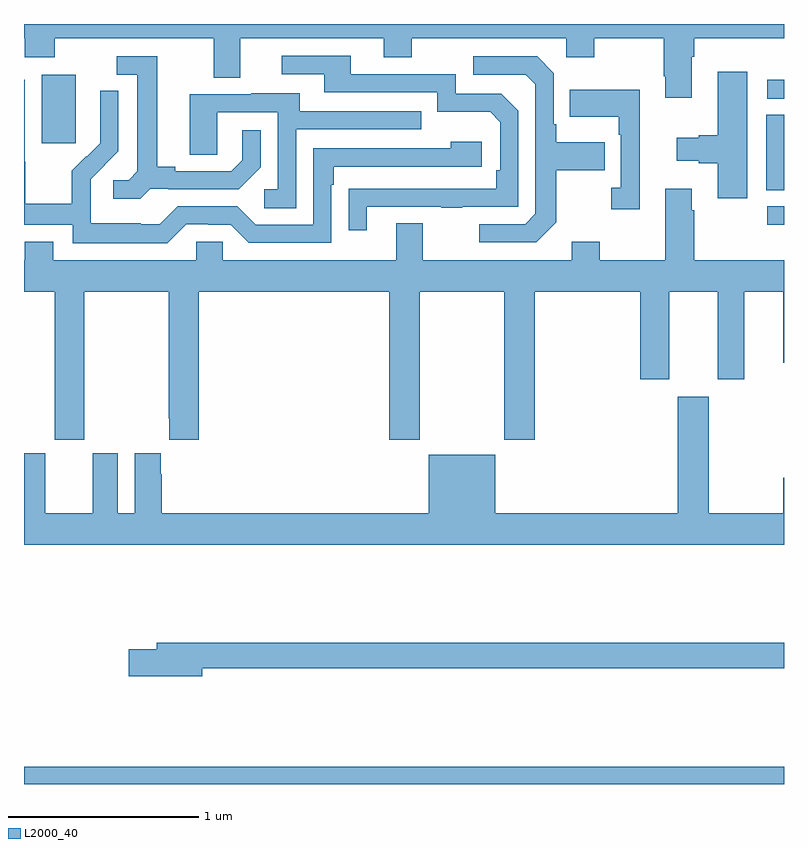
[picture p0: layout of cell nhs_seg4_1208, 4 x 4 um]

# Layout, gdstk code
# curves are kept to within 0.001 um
import gdstk
lib = gdstk.Library(unit=1e-6, precision=1e-09)
def R(c, l, rs):  # rectangles x0, y0, x1, y1
    for r in rs: c.add(gdstk.rectangle(r[:2], r[2:], *l))
def P(c, l, *ps):  # polygons
    for p in ps: c.add(gdstk.Polygon(p, *l))
L2000_40 = (2000, 40)

nhs_seg4_1208 = lib.new_cell('nhs_seg4_1208')
R(nhs_seg4_1208, L2000_40, [(173,788.9,177,788.992), (176.913,791.844,177,791.94), (176.906,792.025,177,792.422), (173.093,792.273,173.272,792.634), (176.913,792.507,177,792.606)])
P(nhs_seg4_1208, L2000_40, [(176.515,792.728),(176.528,792.728),(176.528,792.824),(177,792.824),(177,792.9),(173,792.9),(173,792.824),(173.003,792.824),(173.003,792.725),(173.163,792.725),(173.163,792.824),(173.999,792.824),(173.999,792.616),(174.139,792.616),(174.139,792.824),(174.893,792.824),(174.893,792.725),(175.041,792.725),(175.041,792.824),(175.854,792.824),(175.854,792.725),(176.001,792.725),(176.001,792.824),(176.368,792.824),(176.368,792.625),(176.375,792.625),(176.375,792.513),(176.515,792.513)],
  [(174.805,791.937),(175.195,791.937),(175.195,791.932),(175.307,791.932),(175.307,791.937),(175.602,791.937),(175.602,792.444),(175.512,792.534),(175.272,792.534),(175.272,792.636),(174.721,792.636),(174.721,792.732),(174.357,792.732),(174.357,792.636),(174.581,792.636),(174.581,792.54),(175.176,792.54),(175.176,792.437),(175.453,792.437),(175.506,792.384),(175.506,792.13),(175.486,792.13),(175.486,792.033),(174.709,792.032),(174.709,791.814),(174.805,791.814)],
  [(173.664,792.033),(173.758,792.033),(173.758,792.03),(174.13,792.03),(174.246,792.146),(174.246,792.34),(174.149,792.34),(174.149,792.183),(174.092,792.126),(173.797,792.126),(173.797,792.149),(173.701,792.149),(173.701,792.729),(173.487,792.729),(173.487,792.633),(173.597,792.633),(173.597,792.125),(173.55,792.078),(173.469,792.078),(173.469,791.981),(173.612,791.981)],
  [(175.801,791.857),(175.801,792.13),(176.057,792.13),(176.057,792.277),(175.801,792.277),(175.801,792.373),(175.788,792.373),(175.788,792.642),(175.701,792.729),(175.365,792.729),(175.365,792.633),(175.641,792.633),(175.692,792.582),(175.692,791.901),(175.638,791.847),(175.395,791.847),(175.395,791.751),(175.695,791.751)],
  [(176.806,792.649),(176.651,792.649),(176.651,792.314),(176.552,792.314),(176.552,792.301),(176.436,792.301),(176.436,792.179),(176.552,792.179),(176.552,792.167),(176.651,792.167),(176.651,791.982),(176.806,791.982)],
  [(173.853,791.847),(173.969,791.847),(173.969,791.844),(174.087,791.844),(174.183,791.748),(174.618,791.748),(174.618,792.053),(174.631,792.053),(174.631,792.15),(175.408,792.15),(175.408,792.28),(175.247,792.28),(175.247,792.246),(174.522,792.246),(174.522,791.844),(174.219,791.844),(174.123,791.94),(173.808,791.94),(173.715,791.847),(173.615,791.847),(173.615,791.851),(173.352,791.851),(173.352,791.985),(173.35,791.985),(173.35,792.082),(173.496,792.23),(173.496,792.548),(173.4,792.548),(173.4,792.394),(173.402,792.394),(173.402,792.272),(173.331,792.201),(173.328,792.204),(173.251,792.127),(173.251,791.953),(173.007,791.953),(173.007,792.176),(173.004,792.176),(173.004,792.606),(173,792.606),(173,791.844),(173.256,791.844),(173.256,791.747),(173.753,791.747)],
  [(176.24,792.553),(175.873,792.553),(175.873,792.413),(176.13,792.413),(176.13,792.317),(176.142,792.317),(176.142,792.038),(176.091,792.038),(176.091,791.925),(176.24,791.925)],
  [(174.432,792.345),(175.091,792.345),(175.091,792.441),(174.451,792.441),(174.451,792.535),(174.197,792.535),(174.197,792.531),(173.873,792.531),(173.873,792.211),(174.018,792.211),(174.018,792.435),(174.336,792.435),(174.336,792.03),(174.264,792.03),(174.264,791.929),(174.432,791.929)],
  [(173.316,791.492),(173.761,791.492),(173.761,790.825),(173.765,790.825),(173.765,790.713),(173.921,790.713),(173.921,791.492),(174.923,791.492),(174.923,790.713),(175.083,790.713),(175.083,791.492),(175.528,791.492),(175.528,790.713),(175.688,790.713),(175.688,791.492),(176.243,791.492),(176.243,791.031),(176.395,791.031),(176.395,791.492),(176.651,791.492),(176.651,791.031),(176.791,791.031),(176.791,791.492),(176.996,791.492),(176.996,791.118),(177,791.118),(177,791.656),(176.528,791.656),(176.528,791.921),(176.515,791.921),(176.515,792.034),(176.375,792.034),(176.375,791.656),(176.031,791.656),(176.031,791.755),(175.883,791.755),(175.883,791.656),(175.099,791.656),(175.099,791.851),(174.959,791.851),(174.959,791.656),(174.045,791.656),(174.045,791.754),(173.907,791.754),(173.907,791.656),(173.155,791.656),(173.155,791.755),(173.003,791.755),(173.003,791.656),(173,791.656),(173,791.492),(173.161,791.492),(173.161,790.713),(173.316,790.713)],
  [(177,790.513),(176.996,790.513),(176.996,790.324),(176.605,790.324),(176.605,790.939),(176.441,790.939),(176.441,790.324),(175.48,790.324),(175.48,790.633),(175.13,790.633),(175.13,790.324),(173.726,790.324),(173.726,790.529),(173.719,790.529),(173.719,790.642),(173.582,790.642),(173.582,790.324),(173.494,790.324),(173.494,790.642),(173.363,790.642),(173.363,790.324),(173.113,790.324),(173.113,790.642),(173,790.642),(173,790.16),(177,790.16)],
  [(173.938,789.508),(177,789.508),(177,789.644),(173.699,789.644),(173.699,789.608),(173.55,789.608),(173.55,789.466),(173.938,789.466)])

lib.write_gds('nhs_seg4_1208.gds')
